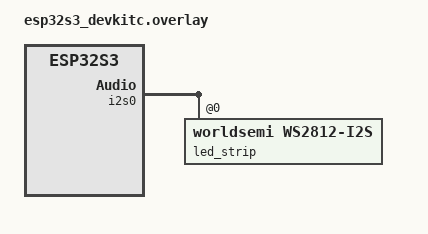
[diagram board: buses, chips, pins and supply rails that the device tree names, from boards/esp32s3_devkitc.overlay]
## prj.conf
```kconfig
# Logging (global defaults)
CONFIG_LOG=y
CONFIG_LOG_PRINTK=y
CONFIG_LOG_DEFAULT_LEVEL=3

# Enabled modules
CONFIG_GPIO=y
CONFIG_LED_STRIP=y
```

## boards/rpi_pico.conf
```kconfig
CONFIG_USB_DEVICE_STACK=y
CONFIG_USB_DEVICE_VID=0x2FE3
CONFIG_USB_DEVICE_PID=0x0001
CONFIG_USB_DEVICE_PRODUCT="Pimoroni pico plus 2 with Zephyr"
CONFIG_USB_DEVICE_INITIALIZE_AT_BOOT=y

CONFIG_SERIAL=y
CONFIG_UART_LINE_CTRL=y

CONFIG_USB_DRIVER_LOG_LEVEL_ERR=y
CONFIG_USB_DEVICE_LOG_LEVEL_ERR=y
CONFIG_USB_CDC_ACM_LOG_LEVEL_ERR=y
```

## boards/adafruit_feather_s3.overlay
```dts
/*
 * Copyright (c) 2024-2025 Espressif Systems (Shanghai) Co., Ltd.
 *
 * SPDX-License-Identifier: Apache-2.0
 */

#include <zephyr/dt-bindings/led/led.h>

/ {
	aliases {
		led-strip = &led_strip;
	};
};
```

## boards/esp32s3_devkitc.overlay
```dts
/*
 * Copyright (c) 2024-2025 Espressif Systems (Shanghai) Co., Ltd.
 *
 * SPDX-License-Identifier: Apache-2.0
 */

#include <zephyr/dt-bindings/led/led.h>

/ {
	aliases {
		led-strip = &led_strip;
	};
};

&i2s0_default {
	group1 {
		pinmux = <I2S0_O_SD_GPIO38>;
	};
};

i2s_led: &i2s0 {
	status = "okay";

	dmas = <&dma 3>;
	dma-names = "tx";

	led_strip: ws2812@0 {
		compatible = "worldsemi,ws2812-i2s";

		reg = <0>;
		chain-length = <1>;
		color-mapping = <LED_COLOR_ID_GREEN
				 LED_COLOR_ID_RED
				 LED_COLOR_ID_BLUE>;
		reset-delay = <500>;
	};
};

&dma {
	status = "okay";
};
```

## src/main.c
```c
/*
 * Copyright (c) 2017 Linaro Limited
 * Copyright (c) 2018 Intel Corporation
 * Copyright (c) 2024 TOKITA Hiroshi
 *
 * SPDX-License-Identifier: Apache-2.0
 */

#include <errno.h>
#include <string.h>

#define LOG_LEVEL 4
#include <zephyr/logging/log.h>
LOG_MODULE_REGISTER(main);

#include <zephyr/device.h>
#include <zephyr/drivers/led_strip.h>
#include <zephyr/drivers/spi.h>
#include <zephyr/kernel.h>
#include <zephyr/sys/util.h>

#define STRIP_NODE DT_ALIAS(led_strip)

#if DT_NODE_HAS_PROP(DT_ALIAS(led_strip), chain_length)
#define STRIP_NUM_PIXELS DT_PROP(DT_ALIAS(led_strip), chain_length)
#else
#error Unable to determine length of LED strip
#endif

#define DELAY_TIME K_MSEC(1000)

#define RGB(_r, _g, _b)                                                        \
  { .r = (_r), .g = (_g), .b = (_b) }

static const struct led_rgb colors[] = {
    RGB(0xAA, 0xAA, 0xAA), /* red */
    RGB(0x11, 0xAA, 0xAA), /* green */
    RGB(0xA1, 0x11, 0xAA), /* blue */
};

static struct led_rgb pixels[STRIP_NUM_PIXELS];

static const struct device *const strip = DEVICE_DT_GET(STRIP_NODE);

int main(void) {
  size_t color = 0;
  int rc;

  if (device_is_ready(strip)) {
    LOG_INF("Found LED strip device %s", strip->name);
  } else {
    LOG_ERR("LED strip device %s is not ready", strip->name);
    return 0;
  }

  LOG_INF("Displaying pattern on strip");
  while (1) {
    for (size_t cursor = 0; cursor < ARRAY_SIZE(pixels); cursor++) {
      memset(&pixels, 0x00, sizeof(pixels));
      memcpy(&pixels[cursor], &colors[color], sizeof(struct led_rgb));

      rc = led_strip_update_rgb(strip, pixels, STRIP_NUM_PIXELS);
      if (rc) {
        LOG_ERR("couldn't update strip: %d", rc);
      }

      k_sleep(DELAY_TIME);
    }

    color = (color + 1) % ARRAY_SIZE(colors);
  }

  return 0;
}
```
